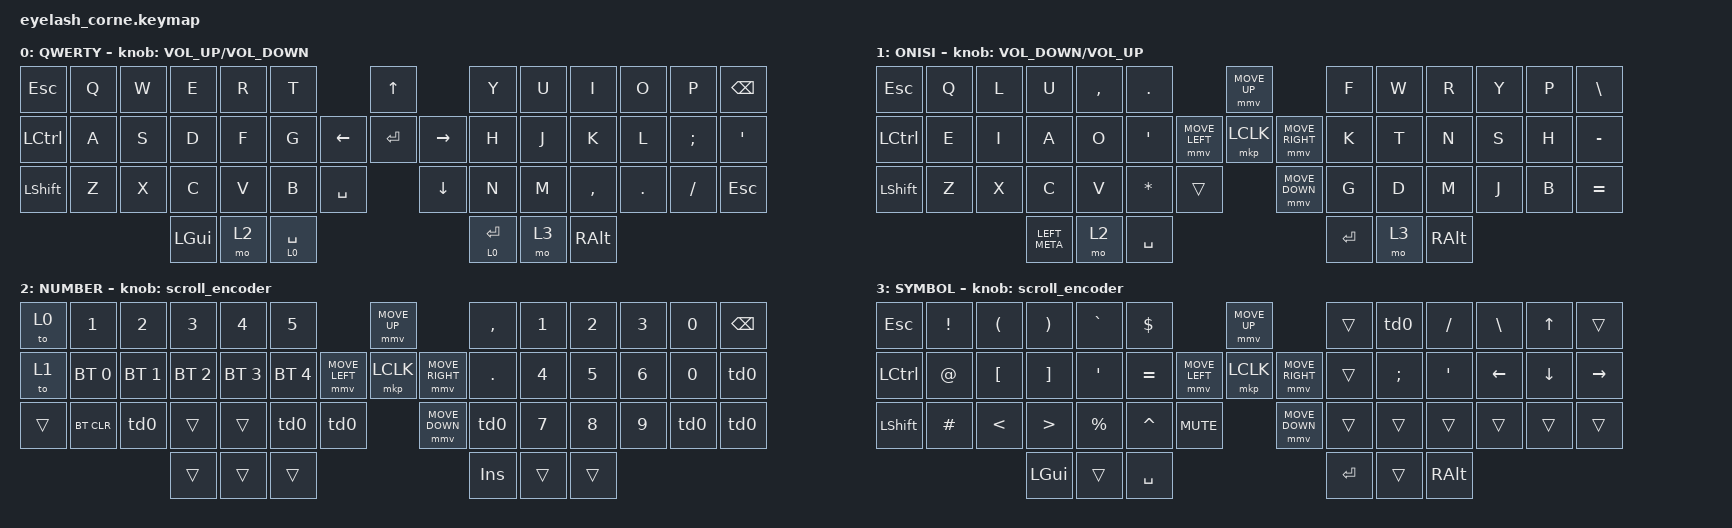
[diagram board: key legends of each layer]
#include <dt-bindings/zmk/mouse.h>
#include <input/processors.dtsi>
#include <behaviors.dtsi>
#include <dt-bindings/zmk/bt.h>
#include <dt-bindings/zmk/keys.h>
#include <dt-bindings/zmk/pointing.h>
#include <dt-bindings/zmk/rgb.h>

/*

   &mmv_input_listener {
       input-processors = <&zip_xy_scaler 2 1>;
   };

   &msc_input_listener {
       input-processors = <&zip_xy_scaler 2 1>;
   };

 */

#define ZMK_MOUSE_DEFAULT_MOVE_VAL 1200  // 600
#define ZMK_MOUSE_DEFAULT_SCRL_VAL 20    // 10

/ {
    behaviors {
        td0: td0 {
            compatible = "zmk,behavior-tap-dance";
            display-name = "Shift/Caps Lock Tap Dance";
            #binding-cells = <0>;
            bindings = <&kp LEFT_SHIFT>, <&kp CAPS>;
        };
    };

    rgb_encoder: rgb_encoder {
        compatible = "zmk,behavior-sensor-rotate";
        #sensor-binding-cells = <0>;
        bindings = <&rgb_ug RGB_BRI>, <&rgb_ug RGB_BRD>;
    };

    scroll_encoder: scroll_encoder {
        compatible = "zmk,behavior-sensor-rotate";
        #sensor-binding-cells = <0>;
        bindings = <&msc SCRL_DOWN>, <&msc SCRL_UP>;

        tap-ms = <30>;
    };

    keymap {
        compatible = "zmk,keymap";

        QWERTY {
            display-name = "QWERTY";
            bindings = <
&kp ESCAPE        &kp Q  &kp W  &kp E     &kp R  &kp T                               &kp UP                &kp Y        &kp U  &kp I      &kp O    &kp P     &kp BSPC
&kp LEFT_CONTROL  &kp A  &kp S  &kp D     &kp F  &kp G                     &kp LEFT  &kp ENTER  &kp RIGHT  &kp H        &kp J  &kp K      &kp L    &kp SEMI  &kp SQT
&kp LEFT_SHIFT    &kp Z  &kp X  &kp C     &kp V  &kp B        &kp SPACE              &kp DOWN              &kp N        &kp M  &kp COMMA  &kp DOT  &kp FSLH  &kp ESC
                                &kp LGUI  &mo 2  &lt 0 SPACE                                               &lt 0 ENTER  &mo 3  &kp RALT
            >;

            sensor-bindings = <&inc_dec_kp C_VOLUME_UP C_VOLUME_DOWN>;
        };

        ONISI {
            display-name = "ONISI";
            bindings = <
&kp ESCAPE        &kp Q  &kp L  &kp U          &kp COMMA  &kp DOT                                     &mmv MOVE_UP                     &kp F    &kp W  &kp R          &kp Y  &kp P  &kp BACKSLASH
&kp LEFT_CONTROL  &kp E  &kp I  &kp A          &kp O      &kp SINGLE_QUOTE            &mmv MOVE_LEFT  &mkp LCLK       &mmv MOVE_RIGHT  &kp K    &kp T  &kp N          &kp S  &kp H  &kp MINUS
&kp LEFT_SHIFT    &kp Z  &kp X  &kp C          &kp V      &kp ASTERISK      &trans                    &mmv MOVE_DOWN                   &kp G    &kp D  &kp M          &kp J  &kp B  &kp EQUAL
                                &kp LEFT_META  &mo 2      &kp SPACE                                                                    &kp RET  &mo 3  &kp RIGHT_ALT
            >;

            sensor-bindings = <&inc_dec_kp K_VOLUME_DOWN C_VOLUME_UP>;
            label = "ONISI";
        };

        NUMBER {
            display-name = "NUMBER";
            bindings = <
&to 0   &kp N1        &kp N2        &kp N3        &kp N4        &kp N5                                &mmv MOVE_UP                     &kp COMMA  &kp NUMBER_1  &kp NUMBER_2  &kp NUMBER_3  &kp N0        &kp BSPC
&to 1   &bt BT_SEL 0  &bt BT_SEL 1  &bt BT_SEL 2  &bt BT_SEL 3  &bt BT_SEL 4          &mmv MOVE_LEFT  &mkp LCLK       &mmv MOVE_RIGHT  &kp DOT    &kp NUMBER_4  &kp N5        &kp NUMBER_6  &kp NUMBER_0  &td0
&trans  &bt BT_CLR    &td0          &trans        &trans        &td0          &td0                    &mmv MOVE_DOWN                   &td0       &kp NUMBER_7  &kp NUMBER_8  &kp NUMBER_9  &td0          &td0
                                    &trans        &trans        &trans                                                                 &kp INS    &trans        &trans
            >;

            sensor-bindings = <&scroll_encoder>;
        };

        SYMBOL {
            display-name = "SYMBOL";
            bindings = <
&kp ESCAPE        &kp EXCL  &kp LEFT_PARENTHESIS  &kp RIGHT_PARENTHESIS  &kp GRAVE       &kp DOLLAR                                &mmv MOVE_UP                     &trans     &td0      &kp SLASH         &kp BACKSLASH   &kp UP_ARROW    &trans
&kp LEFT_CONTROL  &kp AT    &kp LEFT_BRACKET      &kp RIGHT_BRACKET      &kp APOSTROPHE  &kp EQUAL                 &mmv MOVE_LEFT  &mkp LCLK       &mmv MOVE_RIGHT  &trans     &kp SEMI  &kp SINGLE_QUOTE  &kp LEFT_ARROW  &kp DOWN_ARROW  &kp RIGHT_ARROW
&kp LEFT_SHIFT    &kp HASH  &kp LESS_THAN         &kp GREATER_THAN       &kp PERCENT     &kp CARET   &kp C_MUTE                    &mmv MOVE_DOWN                   &trans     &trans    &trans            &trans          &trans          &trans
                                                  &kp LEFT_GUI           &trans          &kp SPACE                                                                  &kp ENTER  &trans    &kp RIGHT_ALT
            >;

            sensor-bindings = <&scroll_encoder>;
            label = "SYMBOL";
        };
    };
};
